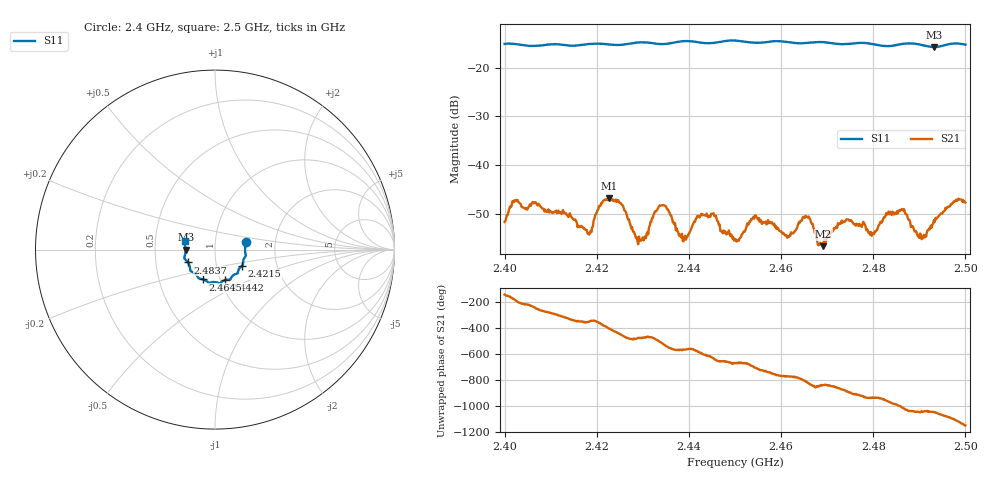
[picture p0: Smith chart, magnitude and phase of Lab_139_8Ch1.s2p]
# Hz S RI R 50
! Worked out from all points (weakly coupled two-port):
!   601 points, 2.4 GHz to 2.5 GHz, reference 50 ohm
!   highest |S21| = -46.85 dB at 2.4227 GHz (marker M1); lowest = -56.7 dB at 2.4692 GHz (marker M2)
!   lowest |S11| = -15.7 dB at 2.4932 GHz (marker M3), VSWR 1.39, Z = 36 - j0.0564 ohm
!   |S11| at or under -10 dB: start of sweep to end of sweep
!   S12 and S22 are empty: the file has one direction only
!   S11 on the Smith chart (normalised r, x): 2.4 GHz: 1.41, +0.12; 2.4215 GHz: 1.33, -0.25; 2.4442 GHz: 1.05, -0.37; 2.4645 GHz: 0.83, -0.29; 2.4837 GHz: 0.73, -0.11; 2.5 GHz: 0.71, +0.07
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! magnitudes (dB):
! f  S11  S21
! 2.4 GHz  -15.1  -51.7
! 2.4025 GHz  -15.1  -47.3
! 2.4167 GHz  -15.3  -52.5
! 2.4185 GHz  -15.1  -54.1
! 2.4215 GHz  -15.1  -47.3
! 2.4227 GHz  -15.2  -46.8
! 2.4293 GHz  -14.8  -55.5
! 2.4333 GHz  -15.1  -48.9
! 2.4392 GHz  -14.5  -54.6
! 2.4442 GHz  -15.0  -50.8
! 2.45 GHz  -14.4  -55.3
! 2.4542 GHz  -14.9  -51.0
! 2.4615 GHz  -14.7  -54.8
! 2.4645 GHz  -15.0  -51.5
! 2.4667 GHz  -14.8  -52.1
! 2.4692 GHz  -14.7  -56.7
! 2.4802 GHz  -15.2  -54.2
! 2.4833 GHz  -15.6  -49.6
! 2.4837 GHz  -15.5  -49.6
! 2.4903 GHz  -15.3  -54.3
! 2.4932 GHz  -15.7  -51.3
! 2.5 GHz  -15.3  -47.7
